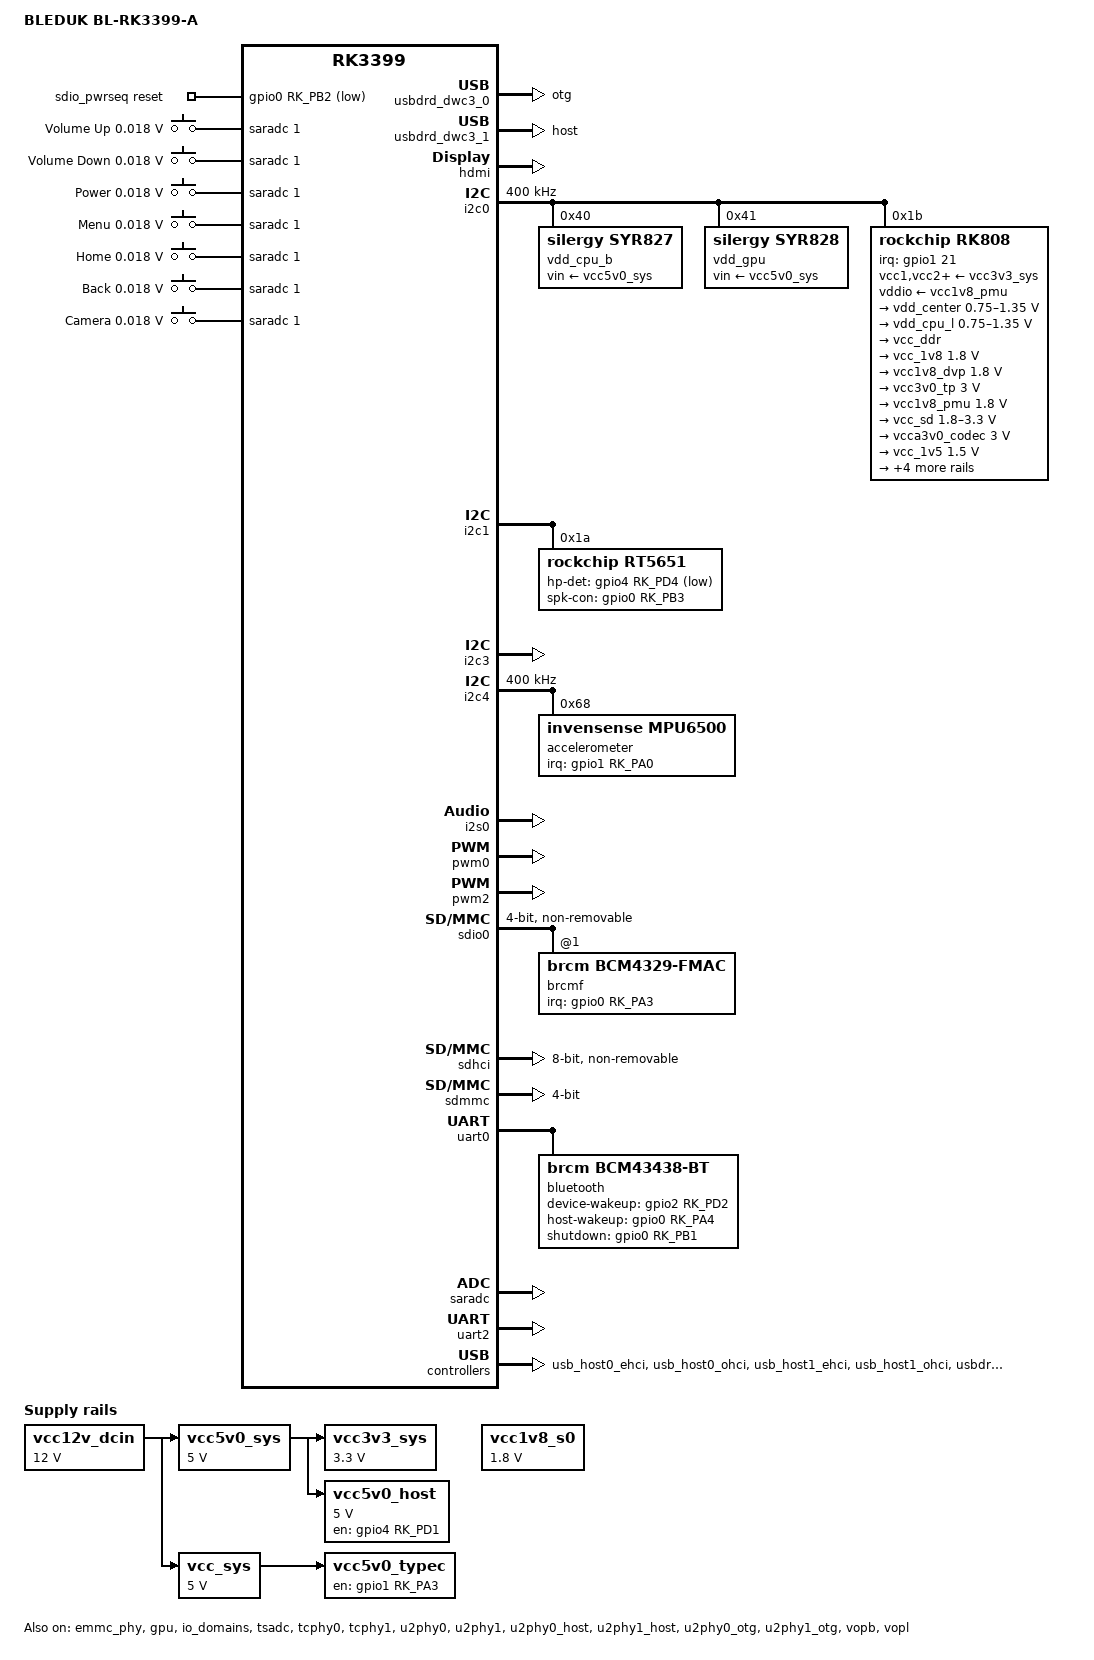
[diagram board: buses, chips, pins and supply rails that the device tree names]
// SPDX-License-Identifier: (GPL-2.0+ OR MIT)
/*
 Supported:
	USB: 2.0 x 1, 3.0 x 1, 
	TF
	WiFi

 Unsupport:
	USB: Type-C x 1

 Unknown:
	Headset
	HDMI-OUT
	LVDS
	EDP

 */

/dts-v1/;

#include <dt-bindings/input/linux-event-codes.h>
#include <dt-bindings/pwm/pwm.h>
#include <dt-bindings/usb/pd.h>
#include "dt-bindings/input/input.h"
#include "rk3399.dtsi"
#include "rk3399-opp.dtsi"

/ {
	model = "BLEDUK BL-RK3399-A";
	compatible = "rockchip,rk3399";

	aliases {
		mmc0 = &sdio0;
		mmc1 = &sdmmc;
		mmc2 = &sdhci;
	};

	chosen {
		stdout-path = "serial2:1500000n8";
	};

	sdio_pwrseq: sdio-pwrseq {
		compatible = "mmc-pwrseq-simple";
		clocks = <&rk808 1>;
		clock-names = "ext_clock";
		pinctrl-names = "default";
		pinctrl-0 = <&wifi_enable_h>;

		/*
		 * On the module itself this is one of these (depending
		 * on the actual card populated):
		 * - SDIO_RESET_L_WL_REG_ON
		 * - PDN (power down when low)
		 */
		reset-gpios = <&gpio0 RK_PB2 GPIO_ACTIVE_LOW>;
	};

	vcc12v_dcin: vcc12v-dcin {
		compatible = "regulator-fixed";
		regulator-name = "vcc12v_dcin";
		regulator-min-microvolt = <12000000>;
		regulator-max-microvolt = <12000000>;
		regulator-always-on;
		regulator-boot-on;
	};

	vcc1v8_s0: vcc1v8-s0 {
		compatible = "regulator-fixed";
		regulator-name = "vcc1v8_s0";
		regulator-min-microvolt = <1800000>;
		regulator-max-microvolt = <1800000>;
		regulator-always-on;
	};

	vcc5v0_sys: vcc5v0-sys {
		compatible = "regulator-fixed";
		regulator-name = "vcc5v0_sys";
		regulator-min-microvolt = <5000000>;
		regulator-max-microvolt = <5000000>;
		regulator-always-on;
		vin-supply = <&vcc12v_dcin>;
	};

	vcc3v3_sys: vcc3v3-sys {
		compatible = "regulator-fixed";
		regulator-name = "vcc3v3_sys";
		regulator-min-microvolt = <3300000>;
		regulator-max-microvolt = <3300000>;
		regulator-always-on;
		vin-supply = <&vcc5v0_sys>;
	};

	vcc5v0_host: vcc5v0-host-regulator {
		compatible = "regulator-fixed";
		enable-active-high;
		pinctrl-names = "default";
		pinctrl-0 = <&host_vbus_drv>;
		regulator-name = "vcc5v0_host";
		regulator-min-microvolt = <5000000>;
		regulator-max-microvolt = <5000000>;
		regulator-always-on;
		vin-supply = <&vcc5v0_sys>;
		gpio = <&gpio4 RK_PD1 GPIO_ACTIVE_HIGH>; // verify
	};

	vcc5v0_typec: vcc5v0-typec-regulator {
		compatible = "regulator-fixed";
		enable-active-high;
		gpio = <&gpio1 RK_PA3 GPIO_ACTIVE_HIGH>;
		pinctrl-names = "default";
		pinctrl-0 = <&vcc5v0_typec_en>;
		regulator-name = "vcc5v0_typec";
		regulator-always-on;
		vin-supply = <&vcc_sys>;
	};

	vcc_sys: vcc-sys {
		compatible = "regulator-fixed";
		regulator-name = "vcc_sys";
		regulator-always-on;
		regulator-boot-on;
		regulator-min-microvolt = <5000000>;
		regulator-max-microvolt = <5000000>;
		vin-supply = <&vcc12v_dcin>;
	};

	rt5651-sound {
		compatible = "simple-audio-card";
		simple-audio-card,name = "realtek,rt5651-codec";
		simple-audio-card,format = "i2s";
		simple-audio-card,mclk-fs = <256>;
		simple-audio-card,widgets =
			"Microphone", "Mic Jack",
			"Headphone", "Headphone Jack";
		simple-audio-card,routing =
			"Mic Jack", "MICBIAS1",
			"IN1P", "Mic Jack",
			"Headphone Jack", "HPOL",
			"Headphone Jack", "HPOR";
			
		simple-audio-card,cpu {
			sound-dai = <&i2s0>;
		};
		simple-audio-card,codec {
			sound-dai = <&rt5651>;
		};
	};

	adc-keys { // verify
		compatible = "adc-keys";
		io-channels = <&saradc 1>;
		io-channel-names = "buttons";
		keyup-threshold-microvolt = <1800000>;
		poll-interval = <100>;

		vol-up {
				label = "Volume Up";
				linux,code = <KEY_VOLUMEUP>;
				press-threshold-microvolt = <18000>;
		};
		vol-down {
				label = "Volume Down";
				linux,code = <KEY_VOLUMEDOWN>;
				press-threshold-microvolt = <18000>;
		};
		power {
				label = "Power";
				linux,code = <KEY_POWER>;
				press-threshold-microvolt = <18000>;
		};
		menu {
				label = "Menu";
				linux,code = <KEY_F1>;
				press-threshold-microvolt = <18000>;
		};
		home {
				label = "Home";
				linux,code = <KEY_HOME>;
				press-threshold-microvolt = <18000>;
		};
		back {
				label = "Back";
				linux,code = <KEY_BACK>;
				press-threshold-microvolt = <18000>;
		};
		camera {
				label = "Camera";
				linux,code = <KEY_CAMERA>;
				press-threshold-microvolt = <18000>;
		};
	};
};

&cpu_l0 {
	cpu-supply = <&vdd_cpu_l>;
};

&cpu_l1 {
	cpu-supply = <&vdd_cpu_l>;
};

&cpu_l2 {
	cpu-supply = <&vdd_cpu_l>;
};

&cpu_l3 {
	cpu-supply = <&vdd_cpu_l>;
};

&cpu_b0 {
	cpu-supply = <&vdd_cpu_b>;
};

&cpu_b1 {
	cpu-supply = <&vdd_cpu_b>;
};

&emmc_phy {
	status = "okay";
};

&gpu {
	mali-supply = <&vdd_gpu>;
	status = "okay";
};

// &cpu_alert0 {
// 	temperature = <65000>;
// };

// &cpu_thermal {
// 	sustainable-power = <1550>;

// 	cooling-maps {
// 		map0 {
// 			trip = <&cpu_alert1>;
// 		};
// 	};
// };

&usbdrd_dwc3_0 {
	dr_mode = "otg";
};

&usbdrd_dwc3_1 {
	dr_mode = "host";
};

&hdmi {
	ddc-i2c-bus = <&i2c3>;
	pinctrl-names = "default";
	pinctrl-0 = <&hdmi_cec>;
	status = "okay";
};

// FAN = < &gpio1 RK_PC1 GPIO_ACTIVE_HIGH >;
// FAN = < &gpio1 RK_PB6 GPIO_ACTIVE_HIGH >;
&i2c0 {
	clock-frequency = <400000>;
	i2c-scl-rising-time-ns = <168>;
	i2c-scl-falling-time-ns = <4>;
	status = "okay";

	vdd_cpu_b: regulator@40 {
		compatible = "silergy,syr827";
		reg = <0x40>;
		fcs,suspend-voltage-selector = <1>;
		regulator-name = "vdd_cpu_b";
		regulator-min-microvolt = <712500>;
		regulator-max-microvolt = <1500000>;
		regulator-ramp-delay = <1000>;
		regulator-always-on;
		regulator-boot-on;
		vin-supply = <&vcc5v0_sys>;
		status = "okay";

		regulator-state-mem {
			regulator-off-in-suspend;
		};
	};

	vdd_gpu: regulator@41 {
		compatible = "silergy,syr828";
		reg = <0x41>;
		fcs,suspend-voltage-selector = <1>;
		regulator-name = "vdd_gpu";
		regulator-min-microvolt = <712500>;
		regulator-max-microvolt = <1500000>;
		regulator-ramp-delay = <1000>;
		regulator-always-on;
		regulator-boot-on;
		vin-supply = <&vcc5v0_sys>;
		regulator-state-mem {
			regulator-off-in-suspend;
		};
	};

	rk808: pmic@1b {
		compatible = "rockchip,rk808";
		reg = <0x1b>;
		interrupt-parent = <&gpio1>;
		interrupts = <21 IRQ_TYPE_LEVEL_LOW>;
		pinctrl-names = "default";
		pinctrl-0 = <&pmic_int_l>;
		rockchip,system-power-controller;
		wakeup-source;
		#clock-cells = <1>;
		clock-output-names = "xin32k", "rk808-clkout2";

		vcc1-supply = <&vcc3v3_sys>;
		vcc2-supply = <&vcc3v3_sys>;
		vcc3-supply = <&vcc3v3_sys>;
		vcc4-supply = <&vcc3v3_sys>;
		vcc6-supply = <&vcc3v3_sys>;
		vcc7-supply = <&vcc3v3_sys>;
		vcc8-supply = <&vcc3v3_sys>;
		vcc9-supply = <&vcc3v3_sys>;
		vcc10-supply = <&vcc3v3_sys>;
		vcc11-supply = <&vcc3v3_sys>;
		vcc12-supply = <&vcc3v3_sys>;
		vddio-supply = <&vcc1v8_pmu>;

		regulators {
			vdd_center: DCDC_REG1 {
				regulator-name = "vdd_center";
				regulator-min-microvolt = <750000>;
				regulator-max-microvolt = <1350000>;
				regulator-always-on;
				regulator-boot-on;
				regulator-state-mem {
					regulator-off-in-suspend;
				};
			};

			vdd_cpu_l: DCDC_REG2 {
				regulator-name = "vdd_cpu_l";
				regulator-min-microvolt = <750000>;
				regulator-max-microvolt = <1350000>;
				regulator-always-on;
				regulator-boot-on;
				regulator-state-mem {
					regulator-off-in-suspend;
				};
			};

			vcc_ddr: DCDC_REG3 {
				regulator-name = "vcc_ddr";
				regulator-always-on;
				regulator-boot-on;
				regulator-state-mem {
					regulator-on-in-suspend;
				};
			};

			vcc_1v8: DCDC_REG4 {
				regulator-name = "vcc_1v8";
				regulator-min-microvolt = <1800000>;
				regulator-max-microvolt = <1800000>;
				regulator-always-on;
				regulator-boot-on;
				regulator-state-mem {
					regulator-on-in-suspend;
					regulator-suspend-microvolt = <1800000>;
				};
			};

			vcc1v8_dvp: LDO_REG1 {
				regulator-name = "vcc1v8_dvp";
				regulator-min-microvolt = <1800000>;
				regulator-max-microvolt = <1800000>;
				regulator-always-on;
				regulator-boot-on;
				regulator-state-mem {
					regulator-off-in-suspend;
				};
			};

			vcc3v0_tp: LDO_REG2 {
				regulator-name = "vcc3v0_tp";
				regulator-min-microvolt = <3000000>;
				regulator-max-microvolt = <3000000>;
				regulator-always-on;
				regulator-boot-on;
				regulator-state-mem {
					regulator-off-in-suspend;
				};
			};

			vcc1v8_pmu: LDO_REG3 {
				regulator-name = "vcc1v8_pmu";
				regulator-min-microvolt = <1800000>;
				regulator-max-microvolt = <1800000>;
				regulator-always-on;
				regulator-boot-on;
				regulator-state-mem {
					regulator-on-in-suspend;
					regulator-suspend-microvolt = <1800000>;
				};
			};

			vcc_sd: LDO_REG4 {
				regulator-name = "vcc_sd";
				regulator-min-microvolt = <1800000>;
				regulator-max-microvolt = <3300000>;
				regulator-always-on;
				regulator-boot-on;
				regulator-state-mem {
					regulator-on-in-suspend;
					regulator-suspend-microvolt = <3300000>;
				};
			};

			vcca3v0_codec: LDO_REG5 {
				regulator-name = "vcca3v0_codec";
				regulator-min-microvolt = <3000000>;
				regulator-max-microvolt = <3000000>;
				regulator-always-on;
				regulator-boot-on;
				regulator-state-mem {
					regulator-off-in-suspend;
				};
			};

			vcc_1v5: LDO_REG6 {
				regulator-name = "vcc_1v5";
				regulator-min-microvolt = <1500000>;
				regulator-max-microvolt = <1500000>;
				regulator-always-on;
				regulator-boot-on;
				regulator-state-mem {
					regulator-on-in-suspend;
					regulator-suspend-microvolt = <1500000>;
				};
			};

			vcca1v8_codec: LDO_REG7 {
				regulator-name = "vcca1v8_codec";
				regulator-min-microvolt = <1800000>;
				regulator-max-microvolt = <1800000>;
				regulator-always-on;
				regulator-boot-on;
				regulator-state-mem {
					regulator-off-in-suspend;
				};
			};

			vcc_3v0: LDO_REG8 {
				regulator-name = "vcc_3v0";
				regulator-min-microvolt = <3000000>;
				regulator-max-microvolt = <3000000>;
				regulator-always-on;
				regulator-boot-on;
				regulator-state-mem {
					regulator-on-in-suspend;
					regulator-suspend-microvolt = <3000000>;
				};
			};

			vcc3v3_s3: SWITCH_REG1 {
				regulator-name = "vcc3v3_s3";
				regulator-always-on;
				regulator-boot-on;
				regulator-state-mem {
					regulator-off-in-suspend;
				};
			};

			vcc3v3_s0: SWITCH_REG2 {
				regulator-name = "vcc3v3_s0";
				regulator-always-on;
				regulator-boot-on;
				regulator-state-mem {
					regulator-off-in-suspend;
				};
			};
		};
	};
};

// rt5651
&i2c1 {
	i2c-scl-rising-time-ns = <300>;
	i2c-scl-falling-time-ns = <15>;
	status = "okay";

	rt5651: rt5651@1a {
		compatible = "rockchip,rt5651";
		reg = <0x1a>;
		clocks = <&cru SCLK_I2S_8CH_OUT>;
		clock-names = "mclk";
		hp-det-gpio = <&gpio4 RK_PD4 GPIO_ACTIVE_LOW>; // verify
		spk-con-gpio = <&gpio0 RK_PB3 GPIO_ACTIVE_HIGH>; // verify
		#sound-dai-cells = <0>;
	};
};

// HDMI
&i2c3 {
	i2c-scl-rising-time-ns = <450>;
	i2c-scl-falling-time-ns = <15>;
	status = "okay";
};

// fusb
&i2c4 {
	clock-frequency = <400000>;
	i2c-scl-rising-time-ns = <160>;
	i2c-scl-falling-time-ns = <30>;
	status = "okay";

	accelerometer@68 {
		compatible = "invensense,mpu6500";
		reg = <0x68>;
		interrupt-parent = <&gpio1>;
		interrupts = <RK_PA0 IRQ_TYPE_EDGE_RISING>;
	};
};

// rt5651
&i2s0 {
	status = "okay";
};

&io_domains {
	bt656-supply = <&vcc1v8_s0>; /* bt656_gpio2ab_ms */
	audio-supply = <&vcc1v8_s0>; /* audio_gpio3d4a_ms */
	sdmmc-supply = <&vcc_sd>; /* sdmmc_gpio4b_ms */
	gpio1830-supply = <&vcc_3v0>; /* gpio1833_gpio4cd_ms */
	status = "okay";
};

&pmu_io_domains {
	pmu1830-supply = <&vcc_1v8>;
	status = "okay";
};

&pinctrl {
	usb2 {
		host_vbus_drv: host-vbus-drv {
			rockchip,pins =
				<4 RK_PD1 RK_FUNC_GPIO &pcfg_pull_none>; // verify
		};
	};

	usb-typec {
		vcc5v0_typec_en: vcc5v0_typec_en {
			rockchip,pins = <1 RK_PA3 RK_FUNC_GPIO &pcfg_pull_up>;
		};
	};

	fusb30x {
		fusb0_int: fusb0-int {
			rockchip,pins = <1 RK_PA2 RK_FUNC_GPIO &pcfg_pull_up>;
		};
	};

	pmic {
		pmic_int_l: pmic-int-l {
			rockchip,pins =
				<1 RK_PC5 RK_FUNC_GPIO &pcfg_pull_up>;
		};

		vsel1_pin: vsel1-pin {
			rockchip,pins =
				<1 RK_PC1 RK_FUNC_GPIO &pcfg_pull_down>;
		};

		vsel2_pin: vsel2-pin {
			rockchip,pins =
				<1 RK_PB6 RK_FUNC_GPIO &pcfg_pull_down>;
		};
	};

	sdio-pwrseq {
		wifi_enable_h: wifi-enable-h {
			rockchip,pins =
				<0 RK_PB2 RK_FUNC_GPIO &pcfg_pull_none>;
		};
	};

	wifi {
		wifi_host_wake_l: wifi-host-wake-l {
			rockchip,pins = <0 RK_PA3 RK_FUNC_GPIO &pcfg_pull_none>; // verify
		};
	};

	bluetooth {
		bt_reg_on_h: bt-enable-h {
			rockchip,pins = <0 RK_PB1 RK_FUNC_GPIO &pcfg_pull_none>; // verify
		};

		bt_host_wake_l: bt-host-wake-l {
			rockchip,pins = <0 RK_PA4 RK_FUNC_GPIO &pcfg_pull_none>; // verify
		};

		bt_wake_l: bt-wake-l {
			rockchip,pins = <2 RK_PD2 RK_FUNC_GPIO &pcfg_pull_none>; // verify
		};
	};
};

&pwm0 {
	status = "okay";
};

&pwm2 {
	status = "okay";
};

// WiFi AP6354
&sdio0 {
	bus-width = <4>;
	clock-frequency = <50000000>;
	cap-sdio-irq;
	cap-sd-highspeed;
	keep-power-in-suspend;
	mmc-pwrseq = <&sdio_pwrseq>;
	non-removable;
	pinctrl-names = "default";
	pinctrl-0 = <&sdio0_bus4 &sdio0_cmd &sdio0_clk>;
	sd-uhs-sdr104;
	#address-cells = <1>;
	#size-cells = <0>;
	status = "okay";

	brcmf: wifi@1 {
		compatible = "brcm,bcm4329-fmac";
		reg = <1>;
		interrupt-parent = <&gpio0>;
		interrupts = <RK_PA3 GPIO_ACTIVE_HIGH>;
		interrupt-names = "host-wake";
		pinctrl-names = "default";
		pinctrl-0 = <&wifi_host_wake_l>;
	};
};

// EMMC
&sdhci {
	bus-width = <8>;
	mmc-hs400-1_8v;
	mmc-hs400-enhanced-strobe;
	non-removable;
	status = "okay";
};

// TF
&sdmmc {
	bus-width = <4>;
	cap-mmc-highspeed;
	cap-sd-highspeed;
	clock-frequency = <100000000>;
	max-frequency = <100000000>;
	//cd-gpios = <&gpio0 7 GPIO_ACTIVE_LOW>;
	disable-wp;
	sd-uhs-sdr104;
	keep-power-in-suspend;
	vqmmc-supply = <&vcc_sd>;
	card-detect-delay = <800>;
	pinctrl-names = "default";
	pinctrl-0 = <&sdmmc_clk &sdmmc_cmd &sdmmc_cd &sdmmc_bus4>;
	status = "okay";
};

&tsadc {
	rockchip,hw-tshut-mode = <1>;
	rockchip,hw-tshut-polarity = <1>;
	rockchip,hw-tshut-temp = <110000>;
	status = "okay";
};

&uart0 {
	pinctrl-names = "default";
	pinctrl-0 = <&uart0_xfer &uart0_cts &uart0_rts>;
	status = "okay";

	bluetooth {
		compatible = "brcm,bcm43438-bt";
		clocks = <&rk808 1>;
		clock-names = "lpo";
		device-wakeup-gpios = <&gpio2 RK_PD2 GPIO_ACTIVE_HIGH>;
		host-wakeup-gpios = <&gpio0 RK_PA4 GPIO_ACTIVE_HIGH>;
		shutdown-gpios = <&gpio0 RK_PB1 GPIO_ACTIVE_HIGH>;
		pinctrl-names = "default";
		pinctrl-0 = <&bt_host_wake_l &bt_wake_l &bt_reg_on_h>;
	};
};

&saradc {
    status = "okay";
};

&uart2 {
	status = "okay"; // OK
};

&tcphy0 {
	status = "okay";
};

&tcphy1 {
	status = "okay";
};

&u2phy0 {
	status = "okay";
};

&u2phy1 {
	status = "okay";
};

&u2phy0_host {
	phy-supply = <&vcc5v0_host>;
	status = "okay";
};

&u2phy1_host {
	phy-supply = <&vcc5v0_host>;
	status = "okay";
};

&u2phy0_otg {
	status = "okay";
};

&u2phy1_otg {
	status = "okay";
};

&usb_host0_ehci {
	status = "okay";
};

&usb_host0_ohci {
	status = "okay";
};

&usb_host1_ehci {
	status = "okay";
};

&usb_host1_ohci {
	status = "okay";
};

&usbdrd3_0 {
	status = "okay";
};

&usbdrd_dwc3_0 {
	status = "okay";
};

&usbdrd3_1 {
	status = "okay";
};

&usbdrd_dwc3_1 {
	status = "okay";
};

&vopb {
	status = "okay"; // OK
};

&vopb_mmu {
	status = "okay"; // OK
};

&vopl {
	status = "okay"; // OK
};

&vopl_mmu {
	status = "okay"; // OK
};

&iep_mmu {
	status = "okay"; // OK
};
